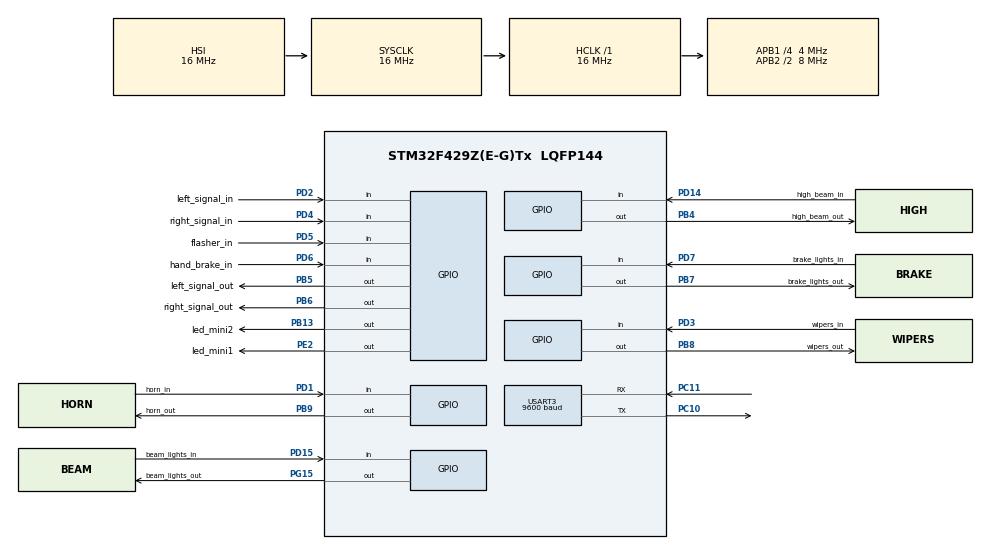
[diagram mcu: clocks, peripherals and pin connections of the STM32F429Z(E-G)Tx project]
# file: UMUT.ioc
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Mcu.Family=STM32F4
Mcu.Name=STM32F429Z(E-G)Tx
Mcu.Package=LQFP144
NVIC.PriorityGroup=NVIC_PRIORITYGROUP_4
NVIC.USART3_IRQn=true\:1\:0\:true\:false\:true\:true\:true\:true
PA13.Mode=Serial_Wire
PA13.Signal=SYS_JTMS-SWDIO
PA14.Mode=Serial_Wire
PA14.Signal=SYS_JTCK-SWCLK
PB13.GPIO_Label=led_mini2
PB13.GPIO_Speed=GPIO_SPEED_FREQ_HIGH
PB13.Signal=GPIO_Output
PB4.GPIO_Label=high_beam_out
PB4.GPIO_Speed=GPIO_SPEED_FREQ_HIGH
PB4.Signal=GPIO_Output
PB5.GPIO_Label=left_signal_out
PB5.GPIO_Speed=GPIO_SPEED_FREQ_HIGH
PB5.Signal=GPIO_Output
PB6.GPIO_Label=right_signal_out
PB6.GPIO_Speed=GPIO_SPEED_FREQ_HIGH
PB6.Signal=GPIO_Output
PB7.GPIO_Label=brake_lights_out
PB7.GPIO_Speed=GPIO_SPEED_FREQ_HIGH
PB7.Signal=GPIO_Output
PB8.GPIO_Label=wipers_out
PB8.GPIO_Speed=GPIO_SPEED_FREQ_HIGH
PB8.Signal=GPIO_Output
PB9.GPIO_Label=horn_out
PB9.GPIO_Speed=GPIO_SPEED_FREQ_HIGH
PB9.Signal=GPIO_Output
PC10.Mode=Asynchronous
PC10.Signal=USART3_TX
PC11.Mode=Asynchronous
PC11.Signal=USART3_RX
PD1.GPIO_Label=horn_in
PD1.Signal=GPIO_Input
PD14.GPIO_Label=high_beam_in
PD14.Signal=GPIO_Input
PD15.GPIO_Label=beam_lights_in
PD15.Signal=GPIO_Input
PD2.GPIO_Label=left_signal_in
PD2.GPIO_PuPd=GPIO_NOPULL
PD2.Signal=GPIO_Input
PD3.GPIO_Label=wipers_in
PD3.Signal=GPIO_Input
PD4.GPIO_Label=right_signal_in
PD4.Signal=GPIO_Input
PD5.GPIO_Label=flasher_in
PD5.Signal=GPIO_Input
PD6.GPIO_Label=hand_brake_in
PD6.Signal=GPIO_Input
PD7.GPIO_Label=brake_lights_in
PD7.Signal=GPIO_Input
PE2.GPIO_Label=led_mini1
PE2.GPIO_Speed=GPIO_SPEED_FREQ_HIGH
PE2.Signal=GPIO_Output
PG15.GPIO_Label=beam_lights_out
PG15.GPIO_Speed=GPIO_SPEED_FREQ_HIGH
PG15.Signal=GPIO_Output
ProjectManager.HeapSize=0x200
ProjectManager.StackSize=0x400
ProjectManager.TargetToolchain=STM32CubeIDE
RCC.48MHZClocksFreq_Value=57600000.00000001
RCC.AHBFreq_Value=16000000
RCC.APB1CLKDivider=RCC_HCLK_DIV4
RCC.APB1Freq_Value=4000000
RCC.APB1TimFreq_Value=8000000
RCC.APB2CLKDivider=RCC_HCLK_DIV2
RCC.APB2Freq_Value=8000000
RCC.APB2TimFreq_Value=16000000
RCC.CortexFreq_Value=16000000
RCC.HCLKFreq_Value=16000000
RCC.HSE_VALUE=25000000
RCC.HSI_VALUE=16000000
RCC.LSE_VALUE=32768
RCC.PLLM=15
RCC.PLLN=216
RCC.SYSCLKFreq_VALUE=16000000
RCC.VCOOutputFreq_Value=230400000.00000003
USART3.BaudRate=9600
USART3.Mode=MODE_TX_RX
USART3.VirtualMode=VM_ASYNC
board=custom

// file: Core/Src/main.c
/* USER CODE BEGIN Header */
/**
  ******************************************************************************
  * @file           : main.c
  * @brief          : Main program body
  ******************************************************************************
  * @attention
  *
  * Copyright (c) 2024 STMicroelectronics.
  * All rights reserved.
  *
  * This software is licensed under terms that can be found in the LICENSE file
  * in the root directory of this software component.
  * If no LICENSE file comes with this software, it is provided AS-IS.
  *
  ******************************************************************************
  */
/* USER CODE END Header */
#include "main.h"

/* USER CODE BEGIN Includes */
#include "stdio.h"
#include "string.h"

/* USER CODE END Includes */

UART_HandleTypeDef huart3;

/* USER CODE BEGIN PV */
volatile uint32_t msTicks = 0;
volatile uint32_t current_millis = 0;
volatile uint32_t right_signal_previousMillis = 0;
volatile uint32_t left_signal_previousMillis = 0;
volatile uint32_t flasher_signal_previousMillis = 0;
volatile uint32_t led_previousMillis = 0;

volatile int flasher_sent = 0;
volatile int right_signal_sent = 0;
volatile int left_signal_sent = 0;
volatile int beam_sent = 0;
volatile int high_beam_sent = 0;

volatile int right_signal_state = 0;
volatile int left_signal_state = 0;
volatile int flasher_state = 0;
volatile int led_mini_state = 0;

volatile int flasher_data;
volatile int right_signal_data;
volatile int left_signal_data;
volatile int horn_data;
volatile int brake_data;
volatile int wipers_data;
volatile int high_beam_data;
volatile int beam_data;

const int  SIGNAL_INTERVAL = 500;
const int  LED_MINI_INTERVAL = 500;
const int DEBOUNCE_COUNT = 7;

volatile int debounce_counter_flasher = 0;
volatile int debounce_counter_right_signal = 0;
volatile int debounce_counter_left_signal = 0;
volatile int debounce_counter_high_beam = 0;
volatile int debounce_counter_beam= 0;

uint8_t myMessage[20];
uint8_t cmdEnd[3] = {0xFF,0xFF,0xFF};
uint8_t coming_message[1];
uint8_t buffer[20];
uint16_t buffer_index = 0;
volatile uint8_t message_ready = 0;
/* USER CODE END PV */

void SystemClock_Config(void);
static void MX_GPIO_Init(void);
static void MX_USART3_UART_Init(void);

int main(void)
{

  /* MCU Configuration--------------------------------------------------------*/

  /* Reset of all peripherals, Initializes the Flash interface and the Systick. */
  HAL_Init();

  /* Configure the system clock */
  SystemClock_Config();

  /* Initialize all configured peripherals */
  MX_GPIO_Init();
  MX_USART3_UART_Init();

  /* USER CODE BEGIN 2 */
  HAL_UART_Receive_IT(&huart3, coming_message, sizeof(coming_message));
  /* USER CODE END 2 */

  /* Infinite loop */
  /* USER CODE BEGIN WHILE */
  while (1)
  {
	  current_millis = msTicks;
	  horn_data = HAL_GPIO_ReadPin(horn_in_GPIO_Port, horn_in_Pin);
	  wipers_data = HAL_GPIO_ReadPin(wipers_in_GPIO_Port, wipers_in_Pin);
	  flasher_data = HAL_GPIO_ReadPin(flasher_in_GPIO_Port, flasher_in_Pin);

	  if(flasher_data == 0)
	  {
		  debounce_counter_flasher++;
		  if(debounce_counter_flasher >= DEBOUNCE_COUNT)
		  {
			  flasher_state = 1;
			  if(debounce_counter_flasher ==DEBOUNCE_COUNT)
			  {
			  HAL_GPIO_WritePin(right_signal_out_GPIO_Port, right_signal_out_Pin, GPIO_PIN_SET);
			  HAL_GPIO_WritePin(left_signal_out_GPIO_Port, left_signal_out_Pin, GPIO_PIN_SET);
			  }
				  if(current_millis - flasher_signal_previousMillis >= SIGNAL_INTERVAL)
			  {
				  HAL_GPIO_TogglePin(right_signal_out_GPIO_Port, right_signal_out_Pin);
				  HAL_GPIO_TogglePin(left_signal_out_GPIO_Port, left_signal_out_Pin);
				  flasher_signal_previousMillis = current_millis;
			  }
			  if(!flasher_sent)
			  {

				  sprintf((char*)myMessage, "flash.pic=7\n");
				  HAL_UART_Transmit_IT(&huart3, myMessage, strlen((char*)myMessage));
				  while(HAL_UART_GetState(&huart3) != HAL_UART_STATE_READY);
				  //HAL_UART_Transmit_IT(&huart3, cmdEnd, sizeof(cmdEnd));
				  //while(HAL_UART_GetState(&huart3) != HAL_UART_STATE_READY);
				  flasher_sent= 1;
			  }

		  }
	  }
	  else
	  {
		  flasher_state = 0;
		  debounce_counter_flasher = 0;
		  flasher_signal_previousMillis = current_millis;
		  if(flasher_sent)
		  {

			  sprintf((char*)myMessage, "flash.pic=6\n");
			  HAL_UART_Transmit_IT(&huart3, myMessage, strlen((char*)myMessage));
			  while(HAL_UART_GetState(&huart3) != HAL_UART_STATE_READY);
			  //HAL_UART_Transmit_IT(&huart3, cmdEnd, sizeof(cmdEnd));
			  //while(HAL_UART_GetState(&huart3) != HAL_UART_STATE_READY);
			  HAL_GPIO_WritePin(right_signal_out_GPIO_Port, right_signal_out_Pin, GPIO_PIN_RESET);
			  HAL_GPIO_WritePin(left_signal_out_GPIO_Port, left_signal_out_Pin, GPIO_PIN_RESET);

			  flasher_sent= 0;
		  }
	  }

	  right_signal_data = HAL_GPIO_ReadPin(right_signal_in_GPIO_Port, right_signal_in_Pin);
	  if(right_signal_data == 0 && flasher_state == 0)
	  {
		  debounce_counter_right_signal++;
		  if(debounce_counter_right_signal >= DEBOUNCE_COUNT)
		  {
			  //HAL_GPIO_WritePin(right_signal_out_GPIO_Port, right_signal_out_Pin, GPIO_PIN_SET);
			  if(debounce_counter_right_signal == DEBOUNCE_COUNT)
			  {
				  HAL_GPIO_WritePin(right_signal_out_GPIO_Port, right_signal_out_Pin, GPIO_PIN_SET);
			  }
			  if(current_millis - right_signal_previousMillis >= SIGNAL_INTERVAL)
			  {
				  HAL_GPIO_TogglePin(right_signal_out_GPIO_Port, right_signal_out_Pin);
				  right_signal_previousMillis = current_millis;
			  }
			  if(!right_signal_sent)
			  {
				  sprintf((char*)myMessage, "right.pic=10\n");
				  HAL_UART_Transmit_IT(&huart3, myMessage, strlen((char*)myMessage));
				  while(HAL_UART_GetState(&huart3) != HAL_UART_STATE_READY);
				  //HAL_UART_Transmit_IT(&huart3, cmdEnd, sizeof(cmdEnd));
				  //while(HAL_UART_GetState(&huart3) != HAL_UART_STATE_READY);
				  right_signal_sent = 1;
			  }
		  }
	  }
	  else
	  {

	  right_signal_previousMillis = current_millis;
	  debounce_counter_right_signal = 0;
	  if(right_signal_sent)
	  	  {
		  sprintf((char*)myMessage, "right.pic=11\n");
		  HAL_UART_Transmit_IT(&huart3, myMessage, strlen((char*)myMessage));
		  while(HAL_UART_GetState(&huart3) != HAL_UART_STATE_READY);
		  //HAL_UART_Transmit_IT(&huart3, cmdEnd, sizeof(cmdEnd));
		  //while(HAL_UART_GetState(&huart3) != HAL_UART_STATE_READY);
		  HAL_GPIO_WritePin(right_signal_out_GPIO_Port, right_signal_out_Pin, GPIO_PIN_RESET);
		  right_signal_sent = 0;
	  	  }
	  }

	  left_signal_data = HAL_GPIO_ReadPin(left_signal_in_GPIO_Port, left_signal_in_Pin);
	  if(left_signal_data == 0 && flasher_state == 0)
	  {
		  debounce_counter_left_signal++;
		  if(debounce_counter_left_signal >= DEBOUNCE_COUNT)
		  {
			  //HAL_GPIO_WritePin(left_signal_out_GPIO_Port, left_signal_out_Pin, GPIO_PIN_SET);
			  if(debounce_counter_left_signal == DEBOUNCE_COUNT)
			  {
				  HAL_GPIO_WritePin(left_signal_out_GPIO_Port, left_signal_out_Pin, GPIO_PIN_SET);
			  }
			  if(current_millis - left_signal_previousMillis >= SIGNAL_INTERVAL)
			  {
				  HAL_GPIO_TogglePin(left_signal_out_GPIO_Port, left_signal_out_Pin);
				  left_signal_previousMillis = current_millis;

			  }
			  if(!left_signal_sent)
			  {

				  sprintf((char*)myMessage, "left.pic=9\n");
				  HAL_UART_Transmit_IT(&huart3, myMessage, strlen((char*)myMessage));
				  while(HAL_UART_GetState(&huart3) != HAL_UART_STATE_READY);
				  //HAL_UART_Transmit_IT(&huart3, cmdEnd, sizeof(cmdEnd));
				  //while(HAL_UART_GetState(&huart3) != HAL_UART_STATE_READY);
				  left_signal_sent = 1;
			  }
		  }
	  }
	  else
	  {

	  left_signal_previousMillis = current_millis;
	  debounce_counter_left_signal = 0;
	  if(left_signal_sent)
	  	  {
		  sprintf((char*)myMessage, "left.pic=8\n");
		  HAL_UART_Transmit_IT(&huart3, myMessage, strlen((char*)myMessage));
		  while(HAL_UART_GetState(&huart3) != HAL_UART_STATE_READY);
		  //HAL_UART_Transmit_IT(&huart3, cmdEnd, sizeof(cmdEnd));
		  //while(HAL_UART_GetState(&huart3) != HAL_UART_STATE_READY);
		  left_signal_sent = 0;
		  HAL_GPIO_WritePin(left_signal_out_GPIO_Port, left_signal_out_Pin, GPIO_PIN_RESET);

	  	  }
	  }

	  beam_data = HAL_GPIO_ReadPin(beam_lights_in_GPIO_Port, beam_lights_in_Pin);
	  if(beam_data == 0)
	  {
		  debounce_counter_beam++;
		  if(debounce_counter_beam >= DEBOUNCE_COUNT)
		  {
			  HAL_GPIO_WritePin(beam_lights_out_GPIO_Port, beam_lights_out_Pin, GPIO_PIN_SET);
			  if(!beam_sent)
			  {
				  sprintf((char*)myMessage, "beam.pic=13\n");
				  HAL_UART_Transmit_IT(&huart3, myMessage, strlen((char*)myMessage));
				  while(HAL_UART_GetState(&huart3) != HAL_UART_STATE_READY);
				  //HAL_UART_Transmit_IT(&huart3, cmdEnd, sizeof(cmdEnd));
				  //while(HAL_UART_GetState(&huart3) != HAL_UART_STATE_READY);
				  beam_sent = 1;
				  HAL_Delay(10);
			  }
		  }
	  }
	  else
	  {
		  debounce_counter_beam = 0;
		  HAL_GPIO_WritePin(beam_lights_out_GPIO_Port, beam_lights_out_Pin, GPIO_PIN_RESET);
		  if(beam_sent)
		  {
			  sprintf((char*)myMessage, "beam.pic=12\n");
			  HAL_UART_Transmit_IT(&huart3, myMessage, strlen((char*)myMessage));
			  while(HAL_UART_GetState(&huart3) != HAL_UART_STATE_READY);
			  //HAL_UART_Transmit_IT(&huart3, cmdEnd, sizeof(cmdEnd));
			  //while(HAL_UART_GetState(&huart3) != HAL_UART_STATE_READY);
			  beam_sent = 0;
			  HAL_Delay(10);
		  }
	  }

	  high_beam_data = HAL_GPIO_ReadPin(high_beam_in_GPIO_Port, high_beam_in_Pin);
	  if(high_beam_data == 0)
	  {
		  debounce_counter_high_beam++;
		  if(debounce_counter_high_beam >= DEBOUNCE_COUNT)
		  {
	  		  HAL_GPIO_WritePin(high_beam_out_GPIO_Port,high_beam_out_Pin, GPIO_PIN_SET);

		  if(!high_beam_sent)
		  {
			  sprintf((char*)myMessage, "hbeam.pic=14\n");
			  HAL_UART_Transmit_IT(&huart3, myMessage, strlen((char*)myMessage));
			  while(HAL_UART_GetState(&huart3) != HAL_UART_STATE_READY);
			  //HAL_UART_Transmit_IT(&huart3, cmdEnd, sizeof(cmdEnd));
			  //while(HAL_UART_GetState(&huart3) != HAL_UART_STATE_READY);

			  high_beam_sent = 1;
		  }}
	  }
	  else
	  {
		debounce_counter_high_beam = 0;
	  	HAL_GPIO_WritePin(high_beam_out_GPIO_Port, high_beam_out_Pin, GPIO_PIN_RESET);
	  	if(high_beam_sent)
	  	{
			  sprintf((char*)myMessage, "hbeam.pic=15\n");
			  HAL_UART_Transmit_IT(&huart3, myMessage, strlen((char*)myMessage));
			  while(HAL_UART_GetState(&huart3) != HAL_UART_STATE_READY);
			  //HAL_UART_Transmit_IT(&huart3, cmdEnd, sizeof(cmdEnd));
			  //while(HAL_UART_GetState(&huart3) != HAL_UART_STATE_READY);
			  high_beam_sent = 0;
	  	}
	  }

	  if(current_millis - led_previousMillis >= LED_MINI_INTERVAL)
	  {

		 if(led_mini_state == 1 )
		 {
			 HAL_GPIO_WritePin(led_mini1_GPIO_Port, led_mini1_Pin, GPIO_PIN_RESET);
			 //HAL_GPIO_WritePin(led_mini2_GPIO_Port, led_mini2_Pin, GPIO_PIN_SET);
			 led_mini_state = 0;
		 }
		 else
		 {
			 HAL_GPIO_WritePin(led_mini1_GPIO_Port, led_mini1_Pin, GPIO_PIN_SET);
			 //HAL_GPIO_WritePin(led_mini2_GPIO_Port, led_mini2_Pin, GPIO_PIN_RESET);
			 led_mini_state = 1;
		 }
		 led_previousMillis = current_millis;

	  }

	  HAL_Delay(10);

    /* USER CODE END WHILE */

  }
}

void SystemClock_Config(void)
{
  RCC_OscInitTypeDef RCC_OscInitStruct = {0};
  RCC_ClkInitTypeDef RCC_ClkInitStruct = {0};

  /** Configure the main internal regulator output voltage
  */
  __HAL_RCC_PWR_CLK_ENABLE();
  __HAL_PWR_VOLTAGESCALING_CONFIG(PWR_REGULATOR_VOLTAGE_SCALE3);

  /** Initializes the RCC Oscillators according to the specified parameters
  * in the RCC_OscInitTypeDef structure.
  */
  RCC_OscInitStruct.OscillatorType = RCC_OSCILLATORTYPE_HSI;
  RCC_OscInitStruct.HSIState = RCC_HSI_ON;
  RCC_OscInitStruct.HSICalibrationValue = RCC_HSICALIBRATION_DEFAULT;
  RCC_OscInitStruct.PLL.PLLState = RCC_PLL_NONE;
  if (HAL_RCC_OscConfig(&RCC_OscInitStruct) != HAL_OK)
  {
    Error_Handler();
  }

  /** Initializes the CPU, AHB and APB buses clocks
  */
  RCC_ClkInitStruct.ClockType = RCC_CLOCKTYPE_HCLK|RCC_CLOCKTYPE_SYSCLK
                              |RCC_CLOCKTYPE_PCLK1|RCC_CLOCKTYPE_PCLK2;
  RCC_ClkInitStruct.SYSCLKSource = RCC_SYSCLKSOURCE_HSI;
  RCC_ClkInitStruct.AHBCLKDivider = RCC_SYSCLK_DIV1;
  RCC_ClkInitStruct.APB1CLKDivider = RCC_HCLK_DIV4;
  RCC_ClkInitStruct.APB2CLKDivider = RCC_HCLK_DIV2;

  if (HAL_RCC_ClockConfig(&RCC_ClkInitStruct, FLASH_LATENCY_0) != HAL_OK)
  {
    Error_Handler();
  }
}

static void MX_USART3_UART_Init(void)
{

  huart3.Instance = USART3;
  huart3.Init.BaudRate = 9600;
  huart3.Init.WordLength = UART_WORDLENGTH_8B;
  huart3.Init.StopBits = UART_STOPBITS_1;
  huart3.Init.Parity = UART_PARITY_NONE;
  huart3.Init.Mode = UART_MODE_TX_RX;
  huart3.Init.HwFlowCtl = UART_HWCONTROL_NONE;
  huart3.Init.OverSampling = UART_OVERSAMPLING_16;
  if (HAL_UART_Init(&huart3) != HAL_OK)
  {
    Error_Handler();
  }

}

static void MX_GPIO_Init(void)
{
  GPIO_InitTypeDef GPIO_InitStruct = {0};

  /* GPIO Ports Clock Enable */
  __HAL_RCC_GPIOE_CLK_ENABLE();
  __HAL_RCC_GPIOB_CLK_ENABLE();
  __HAL_RCC_GPIOD_CLK_ENABLE();
  __HAL_RCC_GPIOA_CLK_ENABLE();
  __HAL_RCC_GPIOC_CLK_ENABLE();
  __HAL_RCC_GPIOG_CLK_ENABLE();

  /*Configure GPIO pin Output Level */
  HAL_GPIO_WritePin(led_mini1_GPIO_Port, led_mini1_Pin, GPIO_PIN_RESET);

  /*Configure GPIO pin Output Level */
  HAL_GPIO_WritePin(GPIOB, led_mini2_Pin|high_beam_out_Pin|left_signal_out_Pin|right_signal_out_Pin
                          |brake_lights_out_Pin|wipers_out_Pin|horn_out_Pin, GPIO_PIN_RESET);

  /*Configure GPIO pin Output Level */
  HAL_GPIO_WritePin(beam_lights_out_GPIO_Port, beam_lights_out_Pin, GPIO_PIN_RESET);

  /*Configure GPIO pin : led_mini1_Pin */
  GPIO_InitStruct.Pin = led_mini1_Pin;
  GPIO_InitStruct.Mode = GPIO_MODE_OUTPUT_PP;
  GPIO_InitStruct.Pull = GPIO_NOPULL;
  GPIO_InitStruct.Speed = GPIO_SPEED_FREQ_HIGH;
  HAL_GPIO_Init(led_mini1_GPIO_Port, &GPIO_InitStruct);

  /*Configure GPIO pins : led_mini2_Pin high_beam_out_Pin left_signal_out_Pin right_signal_out_Pin
                           brake_lights_out_Pin wipers_out_Pin horn_out_Pin */
  GPIO_InitStruct.Pin = led_mini2_Pin|high_beam_out_Pin|left_signal_out_Pin|right_signal_out_Pin
                          |brake_lights_out_Pin|wipers_out_Pin|horn_out_Pin;
  GPIO_InitStruct.Mode = GPIO_MODE_OUTPUT_PP;
  GPIO_InitStruct.Pull = GPIO_NOPULL;
  GPIO_InitStruct.Speed = GPIO_SPEED_FREQ_HIGH;
  HAL_GPIO_Init(GPIOB, &GPIO_InitStruct);

  /*Configure GPIO pins : high_beam_in_Pin beam_lights_in_Pin horn_in_Pin left_signal_in_Pin
                           wipers_in_Pin right_signal_in_Pin flasher_in_Pin hand_brake_in_Pin
                           brake_lights_in_Pin */
  GPIO_InitStruct.Pin = high_beam_in_Pin|beam_lights_in_Pin|horn_in_Pin|left_signal_in_Pin
                          |wipers_in_Pin|right_signal_in_Pin|flasher_in_Pin|hand_brake_in_Pin
                          |brake_lights_in_Pin;
  GPIO_InitStruct.Mode = GPIO_MODE_INPUT;
  GPIO_InitStruct.Pull = GPIO_NOPULL;
  HAL_GPIO_Init(GPIOD, &GPIO_InitStruct);

  /*Configure GPIO pin : beam_lights_out_Pin */
  GPIO_InitStruct.Pin = beam_lights_out_Pin;
  GPIO_InitStruct.Mode = GPIO_MODE_OUTPUT_PP;
  GPIO_InitStruct.Pull = GPIO_NOPULL;
  GPIO_InitStruct.Speed = GPIO_SPEED_FREQ_HIGH;
  HAL_GPIO_Init(beam_lights_out_GPIO_Port, &GPIO_InitStruct);

}

/* USER CODE BEGIN 4 */
void HAL_UART_RxCpltCallback(UART_HandleTypeDef *huart)
{
    if (huart->Instance == USART3)
    {
        if (buffer_index < sizeof(buffer) - 1) // String sonlandırma karakteri için yer bırak
        {
            if (coming_message[0] == '\n')
            {
                //buffer[buffer_index] = '\0'; // String'i sonlandır

                // Mesajın işlenmeye hazır olduğunu işaretleyin
                //message_ready = 1;

                // Mesaj kontrolü ve röle kontrolü
                if (strcmp((char *)buffer, "ON") == 0)
                {
                    // Röleyi aç
                    HAL_GPIO_WritePin(horn_out_GPIO_Port,horn_out_Pin, GPIO_PIN_SET);
                }
                else if (strcmp((char *)buffer, "OFF") == 0)
                {
                    // Röleyi kapat
                    HAL_GPIO_WritePin(horn_out_GPIO_Port,horn_out_Pin, GPIO_PIN_RESET);
                }

                // Buffer'ı sıfırla
                buffer_index = 0;
            }
            else
            {
                // Karakteri buffer'a ekle
                buffer[buffer_index++] = coming_message[0];
            }
        }
        else
        {
            // Buffer taşması, buffer'ı sıfırla
            buffer_index = 0;
        }

        // UART receive interrupt'u tekrar etkinleştir
        HAL_UART_Receive_IT(&huart3, coming_message, 1);
    }
}

/* USER CODE END 4 */

void Error_Handler(void)
{
  __disable_irq();
  while (1)
  {
  }
}
